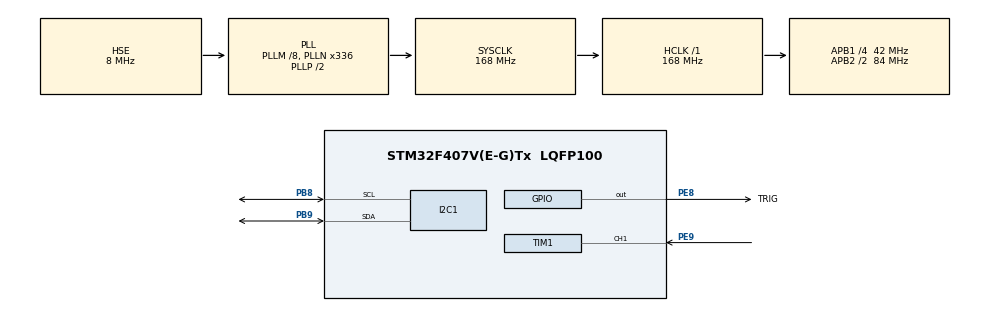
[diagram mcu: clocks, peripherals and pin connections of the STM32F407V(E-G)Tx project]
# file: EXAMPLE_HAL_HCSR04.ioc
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Mcu.Family=STM32F4
Mcu.Name=STM32F407V(E-G)Tx
Mcu.Package=LQFP100
NVIC.PriorityGroup=NVIC_PRIORITYGROUP_0
NVIC.TIM1_CC_IRQn=true\:0\:0\:false\:false\:true\:true\:true\:true
PB8.Mode=I2C
PB8.Signal=I2C1_SCL
PB9.Mode=I2C
PB9.Signal=I2C1_SDA
PE8.GPIO_Label=TRIG
PE8.Signal=GPIO_Output
PE9.Signal=S_TIM1_CH1
PH0-OSC_IN.Mode=HSE-External-Oscillator
PH0-OSC_IN.Signal=RCC_OSC_IN
PH1-OSC_OUT.Mode=HSE-External-Oscillator
PH1-OSC_OUT.Signal=RCC_OSC_OUT
ProjectManager.HeapSize=0x200
ProjectManager.StackSize=0x400
ProjectManager.TargetToolchain=STM32CubeIDE
RCC.48MHZClocksFreq_Value=48000000
RCC.AHBFreq_Value=168000000
RCC.APB1CLKDivider=RCC_HCLK_DIV4
RCC.APB1Freq_Value=42000000
RCC.APB1TimFreq_Value=84000000
RCC.APB2CLKDivider=RCC_HCLK_DIV2
RCC.APB2Freq_Value=84000000
RCC.APB2TimFreq_Value=168000000
RCC.CortexFreq_Value=168000000
RCC.HCLKFreq_Value=168000000
RCC.HSE_VALUE=8000000
RCC.HSI_VALUE=16000000
RCC.LSE_VALUE=32768
RCC.PLLM=8
RCC.PLLN=336
RCC.PLLQ=7
RCC.PLLSourceVirtual=RCC_PLLSOURCE_HSE
RCC.SYSCLKFreq_VALUE=168000000
RCC.SYSCLKSource=RCC_SYSCLKSOURCE_PLLCLK
RCC.VCOOutputFreq_Value=336000000
SH.S_TIM1_CH1.0=TIM1_CH1,Input_Capture1_from_TI1
TIM1.Channel-Input_Capture1_from_TI1=TIM_CHANNEL_1
TIM1.Period=0xffff-1
TIM1.Prescaler=83
board=STM32F407G-DISC1

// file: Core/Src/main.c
/* USER CODE BEGIN Header */
/**
  ******************************************************************************
  * @file           : main.c
  * @brief          : Main program body
  ******************************************************************************
  * @attention
  *
  * Copyright (c) 2023 STMicroelectronics.
  * All rights reserved.
  *
  * This software is licensed under terms that can be found in the LICENSE file
  * in the root directory of this software component.
  * If no LICENSE file comes with this software, it is provided AS-IS.
  *
  ******************************************************************************
  */
/* USER CODE END Header */
#include "main.h"

/* USER CODE BEGIN Includes */

#include "liquidcrystal_i2c.h"
/* USER CODE END Includes */

/* USER CODE BEGIN PD */

#define TRIG_PIN GPIO_PIN_8
#define TRIG_PORT GPIOE
/* USER CODE END PD */

I2C_HandleTypeDef hi2c1;

TIM_HandleTypeDef htim1;

/* USER CODE BEGIN PV */

uint32_t IC_Val1 = 0;
uint32_t IC_Val2 = 0;
uint32_t Difference = 0;
uint8_t Is_First_Captured = 0;  // is the first value captured ?
uint8_t Distance  = 0;

/* USER CODE END PV */

void SystemClock_Config(void);
static void MX_GPIO_Init(void);
static void MX_I2C1_Init(void);
static void MX_TIM1_Init(void);

/* USER CODE BEGIN 0 */
 void delay (uint16_t time)
  {
	 __HAL_TIM_SET_COUNTER(&htim1,0);
	 while (__HAL_TIM_GET_COUNTER(&htim1) < time);
 }

 void HAL_TIM_IC_CaptureCallback(TIM_HandleTypeDef *htim)
 {
 	if (htim->Channel == HAL_TIM_ACTIVE_CHANNEL_1)  // if the interrupt source is channel1
 	{
 		if (Is_First_Captured==0) // if the first value is not captured
 		{
 			IC_Val1 = HAL_TIM_ReadCapturedValue(htim, TIM_CHANNEL_1); // read the first value
 			Is_First_Captured = 1;  // set the first captured as true
 			// Now change the polarity to falling edge
 			__HAL_TIM_SET_CAPTUREPOLARITY(htim, TIM_CHANNEL_1, TIM_INPUTCHANNELPOLARITY_FALLING);
 		}

 		else if (Is_First_Captured==1)   // if the first is already captured
 		{
 			IC_Val2 = HAL_TIM_ReadCapturedValue(htim, TIM_CHANNEL_1);  // read second value
 			__HAL_TIM_SET_COUNTER(htim, 0);  // reset the counter

 			if (IC_Val2 > IC_Val1)
 			{
 				Difference = IC_Val2-IC_Val1;
 			}

 			else if (IC_Val1 > IC_Val2)
 			{
 				Difference = (0xffff - IC_Val1) + IC_Val2;
 			}

 			Distance = Difference * .034/2;
 			Is_First_Captured = 0; // set it back to false

 			// set polarity to rising edge
 			__HAL_TIM_SET_CAPTUREPOLARITY(htim, TIM_CHANNEL_1, TIM_INPUTCHANNELPOLARITY_RISING);
 			__HAL_TIM_DISABLE_IT(&htim1, TIM_IT_CC1);
 		}
 	}
 }

 void HCSR04_Read (void)
 {
 	HAL_GPIO_WritePin(TRIG_PORT, TRIG_PIN, GPIO_PIN_SET);  // pull the TRIG pin HIGH
 	delay(10);  // wait for 10 us
 	HAL_GPIO_WritePin(TRIG_PORT, TRIG_PIN, GPIO_PIN_RESET);  // pull the TRIG pin low

 	__HAL_TIM_ENABLE_IT(&htim1, TIM_IT_CC1);
 }
/* USER CODE END 0 */

int main(void)
{

  /* MCU Configuration--------------------------------------------------------*/

  /* Reset of all peripherals, Initializes the Flash interface and the Systick. */
  HAL_Init();

  /* Configure the system clock */
  SystemClock_Config();

  /* Initialize all configured peripherals */
  MX_GPIO_Init();
  MX_I2C1_Init();
  MX_TIM1_Init();
  /* USER CODE BEGIN 2 */

  HD44780_Init(2);
  HD44780_Clear();
  HD44780_SetCursor(0,0);
  HD44780_PrintStr("DIST=");

 HAL_TIM_IC_Start_IT(&htim1, TIM_CHANNEL_1);

  /* USER CODE END 2 */

  /* Infinite loop */
  while (1)
  {

    /* USER CODE BEGIN 3 */
	  HCSR04_Read();
	  HD44780_PrintStr("DIST=");

	//  Distance = (Distance/10)+48;
	//  Distance = (Distance%10)+48;
	  HD44780_PrintSpecialChar((Distance/10)+48);
	  HD44780_PrintSpecialChar((Distance%10)+48);

	//  HD44780_PrintSpecialChar((Distance/10)+48);
	//  HD44780_PrintSpecialChar((Distance%10)+48);
	  HD44780_PrintStr(" cm");
	  HAL_Delay(200);
	  HD44780_Clear();
  }
  /* USER CODE END 3 */
}

void SystemClock_Config(void)
{
  RCC_OscInitTypeDef RCC_OscInitStruct = {0};
  RCC_ClkInitTypeDef RCC_ClkInitStruct = {0};

  /** Configure the main internal regulator output voltage
  */
  __HAL_RCC_PWR_CLK_ENABLE();
  __HAL_PWR_VOLTAGESCALING_CONFIG(PWR_REGULATOR_VOLTAGE_SCALE1);

  /** Initializes the RCC Oscillators according to the specified parameters
  * in the RCC_OscInitTypeDef structure.
  */
  RCC_OscInitStruct.OscillatorType = RCC_OSCILLATORTYPE_HSE;
  RCC_OscInitStruct.HSEState = RCC_HSE_ON;
  RCC_OscInitStruct.PLL.PLLState = RCC_PLL_ON;
  RCC_OscInitStruct.PLL.PLLSource = RCC_PLLSOURCE_HSE;
  RCC_OscInitStruct.PLL.PLLM = 8;
  RCC_OscInitStruct.PLL.PLLN = 336;
  RCC_OscInitStruct.PLL.PLLP = RCC_PLLP_DIV2;
  RCC_OscInitStruct.PLL.PLLQ = 7;
  if (HAL_RCC_OscConfig(&RCC_OscInitStruct) != HAL_OK)
  {
    Error_Handler();
  }

  /** Initializes the CPU, AHB and APB buses clocks
  */
  RCC_ClkInitStruct.ClockType = RCC_CLOCKTYPE_HCLK|RCC_CLOCKTYPE_SYSCLK
                              |RCC_CLOCKTYPE_PCLK1|RCC_CLOCKTYPE_PCLK2;
  RCC_ClkInitStruct.SYSCLKSource = RCC_SYSCLKSOURCE_PLLCLK;
  RCC_ClkInitStruct.AHBCLKDivider = RCC_SYSCLK_DIV1;
  RCC_ClkInitStruct.APB1CLKDivider = RCC_HCLK_DIV4;
  RCC_ClkInitStruct.APB2CLKDivider = RCC_HCLK_DIV2;

  if (HAL_RCC_ClockConfig(&RCC_ClkInitStruct, FLASH_LATENCY_5) != HAL_OK)
  {
    Error_Handler();
  }
}

static void MX_I2C1_Init(void)
{

  hi2c1.Instance = I2C1;
  hi2c1.Init.ClockSpeed = 100000;
  hi2c1.Init.DutyCycle = I2C_DUTYCYCLE_2;
  hi2c1.Init.OwnAddress1 = 0;
  hi2c1.Init.AddressingMode = I2C_ADDRESSINGMODE_7BIT;
  hi2c1.Init.DualAddressMode = I2C_DUALADDRESS_DISABLE;
  hi2c1.Init.OwnAddress2 = 0;
  hi2c1.Init.GeneralCallMode = I2C_GENERALCALL_DISABLE;
  hi2c1.Init.NoStretchMode = I2C_NOSTRETCH_DISABLE;
  if (HAL_I2C_Init(&hi2c1) != HAL_OK)
  {
    Error_Handler();
  }

}

static void MX_TIM1_Init(void)
{

  TIM_MasterConfigTypeDef sMasterConfig = {0};
  TIM_IC_InitTypeDef sConfigIC = {0};

  htim1.Instance = TIM1;
  htim1.Init.Prescaler = 83;
  htim1.Init.CounterMode = TIM_COUNTERMODE_UP;
  htim1.Init.Period = 0xffff-1;
  htim1.Init.ClockDivision = TIM_CLOCKDIVISION_DIV1;
  htim1.Init.RepetitionCounter = 0;
  htim1.Init.AutoReloadPreload = TIM_AUTORELOAD_PRELOAD_DISABLE;
  if (HAL_TIM_IC_Init(&htim1) != HAL_OK)
  {
    Error_Handler();
  }
  sMasterConfig.MasterOutputTrigger = TIM_TRGO_RESET;
  sMasterConfig.MasterSlaveMode = TIM_MASTERSLAVEMODE_DISABLE;
  if (HAL_TIMEx_MasterConfigSynchronization(&htim1, &sMasterConfig) != HAL_OK)
  {
    Error_Handler();
  }
  sConfigIC.ICPolarity = TIM_INPUTCHANNELPOLARITY_RISING;
  sConfigIC.ICSelection = TIM_ICSELECTION_DIRECTTI;
  sConfigIC.ICPrescaler = TIM_ICPSC_DIV1;
  sConfigIC.ICFilter = 0;
  if (HAL_TIM_IC_ConfigChannel(&htim1, &sConfigIC, TIM_CHANNEL_1) != HAL_OK)
  {
    Error_Handler();
  }

}

static void MX_GPIO_Init(void)
{
  GPIO_InitTypeDef GPIO_InitStruct = {0};

  /* GPIO Ports Clock Enable */
  __HAL_RCC_GPIOH_CLK_ENABLE();
  __HAL_RCC_GPIOE_CLK_ENABLE();
  __HAL_RCC_GPIOB_CLK_ENABLE();

  /*Configure GPIO pin Output Level */
  HAL_GPIO_WritePin(TRIG_GPIO_Port, TRIG_Pin, GPIO_PIN_RESET);

  /*Configure GPIO pin : TRIG_Pin */
  GPIO_InitStruct.Pin = TRIG_Pin;
  GPIO_InitStruct.Mode = GPIO_MODE_OUTPUT_PP;
  GPIO_InitStruct.Pull = GPIO_NOPULL;
  GPIO_InitStruct.Speed = GPIO_SPEED_FREQ_LOW;
  HAL_GPIO_Init(TRIG_GPIO_Port, &GPIO_InitStruct);

}

void Error_Handler(void)
{
  __disable_irq();
  while (1)
  {
  }
}
